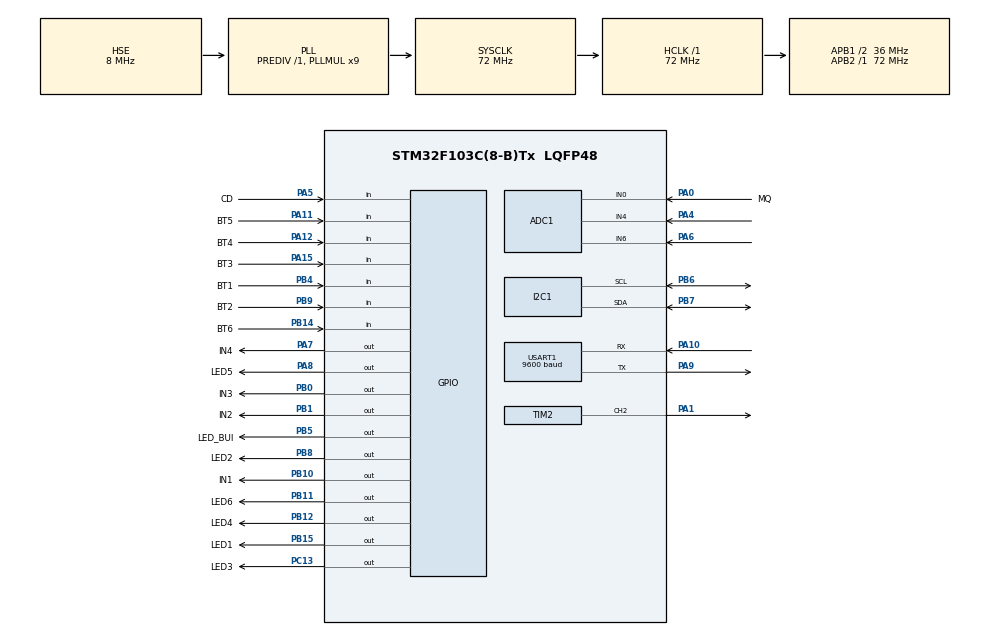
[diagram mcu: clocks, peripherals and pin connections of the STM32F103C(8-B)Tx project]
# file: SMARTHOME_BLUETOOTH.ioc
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Mcu.Family=STM32F1
USART1.BaudRate=9600
PB14.GPIO_Label=BT6
PB0.GPIO_Label=IN3
PA11.GPIO_PuPd=GPIO_PULLUP
TIM2.Channel-PWM\ Generation2\ CH2=TIM_CHANNEL_2
PB11.Signal=GPIO_Output
PB15.Signal=GPIO_Output
RCC.SYSCLKSource=RCC_SYSCLKSOURCE_PLLCLK
ProjectManager.StackSize=0x400
PD1-OSC_OUT.Signal=RCC_OSC_OUT
PA15.GPIO_Label=BT3
PA12.Signal=GPIO_Input
TIM1.Prescaler=72-1
ADC1.Channel-3\#ChannelRegularConversion=ADC_CHANNEL_4
RCC.HCLKFreq_Value=72000000
RCC.APB2TimFreq_Value=72000000
PB6.Signal=I2C1_SCL
Dma.ADC1.0.Direction=DMA_PERIPH_TO_MEMORY
ADC1.Channel-2\#ChannelRegularConversion=ADC_CHANNEL_0
PB6.Mode=I2C
Dma.ADC1.0.MemDataAlignment=DMA_MDATAALIGN_WORD
RCC.AHBFreq_Value=72000000
RCC.PLLMUL=RCC_PLL_MUL9
PB12.GPIO_Label=LED4
ADC1.Rank-2\#ChannelRegularConversion=2
PA14.Mode=Serial_Wire
PB1.GPIO_Label=IN2
Dma.ADC1.0.PeriphInc=DMA_PINC_DISABLE
PB7.Signal=I2C1_SDA
PA8.Signal=GPIO_Output
SH.ADCx_IN0.0=ADC1_IN0,IN0
VP_TIM1_VS_ClockSourceINT.Mode=Internal
Mcu.Package=LQFP48
PB9.Signal=GPIO_Input
TIM2.Prescaler=72-1
PB14.GPIO_PuPd=GPIO_PULLUP
PB1.Signal=GPIO_Output
PA6.Signal=ADCx_IN6
PB9.GPIO_PuPd=GPIO_PULLUP
PA10.Signal=USART1_RX
PA15.Signal=GPIO_Input
PB5.GPIO_Label=LED_BUI
RCC.APB1TimFreq_Value=72000000
TIM1.Period=0xffff-1
NVIC.USART1_IRQn=true\:0\:0\:false\:false\:true\:true\:true
PA12.GPIO_PuPd=GPIO_PULLUP
Dma.Request0=ADC1
PB4.Signal=GPIO_Input
RCC.PLLSourceVirtual=RCC_PLLSOURCE_HSE
Dma.ADC1.0.Instance=DMA1_Channel1
PD1-OSC_OUT.Mode=HSE-External-Oscillator
PB9.GPIO_Label=BT2
PA10.Mode=Asynchronous
SH.ADCx_IN6.0=ADC1_IN6,IN6
PB11.GPIO_Label=LED6
PC13-TAMPER-RTC.Signal=GPIO_Output
PA11.GPIO_Label=BT5
PD0-OSC_IN.Signal=RCC_OSC_IN
RCC.APB1CLKDivider=RCC_HCLK_DIV2
PA12.GPIO_Label=BT4
ADC1.SamplingTime-2\#ChannelRegularConversion=ADC_SAMPLETIME_71CYCLES_5
PA0-WKUP.GPIO_Label=MQ
PA0-WKUP.Signal=ADCx_IN0
RCC.ADCPresc=RCC_ADCPCLK2_DIV6
PA13.Signal=SYS_JTMS-SWDIO
PB8.GPIO_Label=LED2
SH.S_TIM2_CH2.0=TIM2_CH2,PWM Generation2 CH2
Dma.ADC1.0.PeriphDataAlignment=DMA_PDATAALIGN_WORD
PA9.Mode=Asynchronous
PA8.GPIO_Label=LED5
ProjectManager.TargetToolchain=STM32CubeIDE
PB10.GPIO_Label=IN1
Dma.ADC1.0.Mode=DMA_CIRCULAR
Dma.ADC1.0.Priority=DMA_PRIORITY_LOW
PA9.Signal=USART1_TX
ADC1.Channel-1\#ChannelRegularConversion=ADC_CHANNEL_6
PB4.GPIO_PuPd=GPIO_PULLUP
RCC.USBFreq_Value=72000000
PA1.Signal=S_TIM2_CH2
PD0-OSC_IN.Mode=HSE-External-Oscillator
PB10.Signal=GPIO_Output
PB14.Signal=GPIO_Input
PA5.Signal=GPIO_Input
board=custom
PC13-TAMPER-RTC.GPIO_Label=LED3
RCC.APB2Freq_Value=72000000
PB4.GPIO_Label=BT1
PB15.GPIO_Label=LED1
VP_TIM2_VS_ClockSourceINT.Mode=Internal
SH.ADCx_IN4.0=ADC1_IN4,IN4
TIM2.Period=20000-1
ADC1.NbrOfConversion=3
PA13.Mode=Serial_Wire
Mcu.Name=STM32F103C(8-B)Tx
PA4.Signal=ADCx_IN4
ADC1.SamplingTime-1\#ChannelRegularConversion=ADC_SAMPLETIME_55CYCLES_5
RCC.SYSCLKFreq_VALUE=72000000
PB5.Signal=GPIO_Output
PA7.GPIO_Label=IN4
ADC1.master=1
PA5.GPIO_Label=CD
ADC1.Rank-3\#ChannelRegularConversion=3
ADC1.SamplingTime-3\#ChannelRegularConversion=ADC_SAMPLETIME_239CYCLES_5
USART1.VirtualMode=VM_ASYNC
ADC1.Rank-1\#ChannelRegularConversion=1
PB7.Mode=I2C
PA11.Signal=GPIO_Input
PA14.Signal=SYS_JTCK-SWCLK
Dma.ADC1.0.MemInc=DMA_MINC_ENABLE
ProjectManager.HeapSize=0x200
VP_TIM4_VS_ClockSourceINT.Mode=Internal
NVIC.PriorityGroup=NVIC_PRIORITYGROUP_4
ADC1.NbrOfConversionFlag=1
PA15.GPIO_PuPd=GPIO_PULLUP
ADC1.EnableRegularConversion=ENABLE
PB8.Signal=GPIO_Output
NVIC.DMA1_Channel1_IRQn=true\:0\:0\:false\:false\:true\:false\:true
NVIC.TIM4_IRQn=true\:0\:0\:false\:false\:true\:true\:true
RCC.APB1Freq_Value=36000000
PB0.Signal=GPIO_Output
PB12.Signal=GPIO_Output
PA7.Signal=GPIO_Output

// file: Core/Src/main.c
/* USER CODE BEGIN Header */
/**
 ******************************************************************************
 * @file           : main.c
 * @brief          : Main program body
 ******************************************************************************
 * @attention
 *
 * <h2><center>&copy; Copyright (c) 2023 STMicroelectronics.
 * All rights reserved.</center></h2>
 *
 * This software component is licensed by ST under BSD 3-Clause license,
 * the "License"; You may not use this file except in compliance with the
 * License. You may obtain a copy of the License at:
 *                        opensource.org/licenses/BSD-3-Clause
 *
 ******************************************************************************
 */
/* USER CODE END Header */
#include "main.h"

/* USER CODE BEGIN Includes */
#include "stdio.h"
#include "string.h"
#include "i2c-lcd.h"
#include "button.h"
#include "STEPPER.h"
/* USER CODE END Includes */

ADC_HandleTypeDef hadc1;
DMA_HandleTypeDef hdma_adc1;

I2C_HandleTypeDef hi2c1;

TIM_HandleTypeDef htim1;
TIM_HandleTypeDef htim2;
TIM_HandleTypeDef htim4;

UART_HandleTypeDef huart1;

/* USER CODE BEGIN PV */
Button_t bt1;
Button_t bt2;
Button_t bt3;
Button_t bt4;
Button_t bt5;
Button_t bt6;
/* USER CODE END PV */

void SystemClock_Config(void);
static void MX_GPIO_Init(void);
static void MX_DMA_Init(void);
static void MX_USART1_UART_Init(void);
static void MX_ADC1_Init(void);
static void MX_TIM2_Init(void);
static void MX_TIM1_Init(void);
static void MX_I2C1_Init(void);
static void MX_TIM4_Init(void);

/* USER CODE BEGIN 0 */
#define STEPPER_MOTOR1 0
uint64_t t_prev = 0;
uint8_t bufferTx[32];
uint8_t DataRx;
#define DataSize 32
uint8_t buffer[DataSize];
uint8_t indexx = 0;
uint8_t flag = 0;
uint32_t value_Adc[3];
void HAL_TIM_PeriodElapsedCallback(TIM_HandleTypeDef *htim)
{
  STEPPER_TMR_OVF_ISR(htim);
}
long map(long x, long in_min, long in_max, long out_min, long out_max)
{
  return (x - in_min) * (out_max - out_min) / (in_max - in_min) + out_min;
}
void HAL_UARTEx_RxEventCallback(UART_HandleTypeDef *huart, uint16_t Size)
{
  flag = 1;
  HAL_UARTEx_ReceiveToIdle_IT(&huart1, buffer, DataSize);
}

void microDelay(uint16_t delay)
{
  __HAL_TIM_SET_COUNTER(&htim1, 0);
  while (__HAL_TIM_GET_COUNTER(&htim1) < delay)
    ;
}

uint16_t Filter(uint16_t m)
{
  static uint16_t flag_first = 0, _buff[10], sum;
  const uint16_t _buff_max = 10;
  int i;

  if (flag_first == 0)
  {
    flag_first = 1;
    for (i = 0, sum = 0; i < _buff_max; i++)
    {
      _buff[i] = m;
      sum += _buff[i];
    }
    return m;
  }
  else
  {
    sum -= _buff[0];
    for (i = 0; i < (_buff_max - 1); i++)
    {
      _buff[i] = _buff[i + 1];
    }
    _buff[9] = m;
    sum += _buff[9];

    i = sum / 10.0;
    return i;
  }
}

// ------------------ MQ135 ----------------------

uint32_t value_MQ, value_MQs;
float voltage;
#define SharpGP2Y10_SAMPLINGTIME 280
uint16_t value_Gp2y10(uint16_t value)
{
  uint16_t value_Dust;
  value = Filter(value);
  voltage = (3300 / 4096.0) * value * 11;
  value_Dust = 0.17 * voltage - 0.1;
  return value_Dust;
}

// ------------------ CO2 ----------------------
uint32_t dustDensity, dustDensitys;
#define co2Zero 55
uint16_t count = 0;
int co2raw = 0;  // int for raw value of co2
int co2comp = 0; // int for compensated co2
int co2ppm = 0;
uint32_t co2now;
uint16_t get_PPM(uint16_t value_mq)
{
  if (count == 10)
  {
    count = 0;
    co2raw = co2now / 10.0;
    co2comp = co2raw - co2Zero;
    co2ppm = map(co2comp, 0, 4096, 400, 5000);
    co2now = 0;
  }
  else
  {
    co2now += value_mq;
    count++;
  }
  return co2ppm;
}

uint8_t khach = 0;
uint8_t ngu = 0;
uint8_t tam = 0;
uint8_t hanhlang = 0;
uint8_t tt_rem;
uint8_t tt_manual;
void control()
{
  if (strcmp((char *)buffer, "MOKHACH\r\n") == 0)
  {
    khach = 1;
  }
  else if (strcmp((char *)buffer, "ROKHACH\r\n") == 0)
  {
    khach = 2;
  }
  else if (strcmp((char *)buffer, "OFFKHACH\r\n") == 0)
  {
    khach = 3;
  }
  else if (strcmp((char *)buffer, "MONGU\r\n") == 0)
  {
    ngu = 1;
  }
  else if (strcmp((char *)buffer, "RONGU\r\n") == 0)
  {
    ngu = 2;
  }
  else if (strcmp((char *)buffer, "OFFNGU\r\n") == 0)
  {
    ngu = 3;
  }
  else if (strcmp((char *)buffer, "ONLANG\r\n") == 0)
  {
    hanhlang = 1;
  }
  else if (strcmp((char *)buffer, "OFFLANG\r\n") == 0)
  {
    hanhlang = 0;
  }
  else if (strcmp((char *)buffer, "ONTAM\r\n") == 0)
  {
    tam = 1;
  }
  else if (strcmp((char *)buffer, "OFFTAM\r\n") == 0)
  {
    tam = 0;
  }
  else if (strcmp((char *)buffer, "ONREM\r\n") == 0)
  {
    tt_rem = 1;
  }
  else if (strcmp((char *)buffer, "OFFREM\r\n") == 0)
  {
    tt_rem = 0;
  }
  else if (strcmp((char *)buffer, "MANUAL\r\n") == 0)
  {
    tt_manual = 1;
  }
  else if (strcmp((char *)buffer, "AUTO\r\n") == 0)
  {
    tt_manual = 0;
  }
}
void sendData()
{
  sprintf((char *)bufferTx, "%ld;%ld;\n", dustDensity, value_MQ);
  HAL_UART_Transmit(&huart1, (uint8_t *)bufferTx, strlen((char *)bufferTx),
                    1000);
}
void OnOffLed(uint8_t k, uint8_t n, uint8_t l, uint8_t t)
{
  switch (k)
  {
  case 1:
    HAL_GPIO_WritePin(LED1_GPIO_Port, LED1_Pin, 1);
    HAL_GPIO_WritePin(LED2_GPIO_Port, LED2_Pin, 0);
    //		HAL_GPIO_WritePin(LED_GPIO_Port, LED_Pin, 0);
    break;
  case 2:
    HAL_GPIO_WritePin(LED1_GPIO_Port, LED1_Pin, 1);
    HAL_GPIO_WritePin(LED2_GPIO_Port, LED2_Pin, 1);
    break;
  case 3:
    HAL_GPIO_WritePin(LED1_GPIO_Port, LED1_Pin, 0);
    HAL_GPIO_WritePin(LED2_GPIO_Port, LED2_Pin, 0);
    //		HAL_GPIO_WritePin(LED_GPIO_Port, LED_Pin, 1);
    break;
  default:
    break;
  }
  switch (n)
  {
  case 1:
    HAL_GPIO_WritePin(LED3_GPIO_Port, LED3_Pin, 1);
    HAL_GPIO_WritePin(LED4_GPIO_Port, LED4_Pin, 0);
    break;
  case 2:
    HAL_GPIO_WritePin(LED3_GPIO_Port, LED3_Pin, 1);
    HAL_GPIO_WritePin(LED4_GPIO_Port, LED4_Pin, 1);
    break;
  case 3:
    HAL_GPIO_WritePin(LED3_GPIO_Port, LED3_Pin, 0);
    HAL_GPIO_WritePin(LED4_GPIO_Port, LED4_Pin, 0);
    break;
  default:
    break;
  }
  switch (t)
  {
  case 0:
    HAL_GPIO_WritePin(LED5_GPIO_Port, LED5_Pin, 0);
    break;
  case 1:
    HAL_GPIO_WritePin(LED5_GPIO_Port, LED5_Pin, 1);
    break;
  default:
    break;
  }
  switch (l)
  {
  case 0:
    HAL_GPIO_WritePin(LED6_GPIO_Port, LED6_Pin, 0);
    break;
  case 1:
    HAL_GPIO_WritePin(LED6_GPIO_Port, LED6_Pin, 1);
    break;
  default:
    break;
  }
}
uint8_t value1[50], value2[50];
void show_lcd()
{
  lcd_clear_display();
  HAL_Delay(10);
  sprintf((char *)value1, "BUI : %d ", dustDensity);
  sprintf((char *)value2, "CO2 : %d ", value_MQ);

  lcd_goto_XY(1, 0);
  lcd_send_string((char *)value1);
  lcd_goto_XY(2, 0);
  lcd_send_string((char *)value2);
}
uint8_t but1, but2, but3, but4, but5;
uint8_t tt_manual;
void bt_press_callback(Button_t *button)
{
  if (button == &bt1)
  {
    if (but1 == 4)
    {
      but1 = 1;
    }
    switch (but1)
    {
    case 1:
      khach = 1;
      break;
    case 2:
      khach = 2;
      break;
    case 3:
      khach = 3;
      break;
    default:
      break;
    }
    but1++;
  }
  else if (button == &bt2)
  {
    if (but2 == 4)
    {
      but2 = 1;
    }
    switch (but2)
    {
    case 1:
      ngu = 1;
      break;
    case 2:
      ngu = 2;
      break;
    case 3:
      ngu = 3;
      break;
    default:
      break;
    }
    but2++;
  }
  if (tt_manual == 1)
  {
    if (button == &bt3)
    {
      if (tam == 1)
      {
        tam = 0;
      }
      else
      {
        tam = 1;
      }
    }
    else if (button == &bt4)
    {
      if (hanhlang == 1)
      {
        hanhlang = 0;
      }
      else
      {
        hanhlang = 1;
      }
    }
    else if (button == &bt5)
    { // REM
      if (tt_rem == 1)
      {
        STEPPER_Step_NonBlocking(STEPPER_MOTOR1, 4000, DIR_CW);
        tt_rem = 0;
      }
      else
      {
        STEPPER_Step_NonBlocking(STEPPER_MOTOR1, 4000, DIR_CCW);
        tt_rem = 1;
      }
    }
  }
  else if (button == &bt6)
  {
    if (tt_manual == 1)
    {
      tt_manual = 0;
    }
    else
    {
      tt_manual = 1;
    }
  }
}
uint8_t tt_rem1, cb_vatcan, tt_tam;
uint8_t s1, s2, s3, s4, s5, s6;
/* USER CODE END 0 */

int main(void)
{

  /* MCU Configuration--------------------------------------------------------*/

  /* Reset of all peripherals, Initializes the Flash interface and the Systick. */
  HAL_Init();

  /* Configure the system clock */
  SystemClock_Config();

  /* Initialize all configured peripherals */
  MX_GPIO_Init();
  MX_DMA_Init();
  MX_USART1_UART_Init();
  MX_ADC1_Init();
  MX_TIM2_Init();
  MX_TIM1_Init();
  MX_I2C1_Init();
  MX_TIM4_Init();
  /* USER CODE BEGIN 2 */
  Button_Init(&bt1, BT1_GPIO_Port, BT1_Pin);
  Button_Init(&bt2, BT2_GPIO_Port, BT2_Pin);
  Button_Init(&bt3, BT3_GPIO_Port, BT3_Pin);
  Button_Init(&bt4, BT4_GPIO_Port, BT4_Pin);
  Button_Init(&bt5, BT5_GPIO_Port, BT5_Pin);
  Button_Init(&bt6, BT6_GPIO_Port, BT6_Pin);
  STEPPERS_Init_TMR(&htim4);
  STEPPER_SetSpeed(STEPPER_MOTOR1, 20);

  HAL_UARTEx_ReceiveToIdle_IT(&huart1, buffer, DataSize);
  HAL_ADCEx_Calibration_Start(&hadc1);

  HAL_TIM_Base_Start(&htim1);
  lcd_init();
  t_prev = HAL_GetTick();

  /* USER CODE END 2 */

  /* Infinite loop */
  /* USER CODE BEGIN WHILE */
  while (1)
  {
    bt_handle(&bt1);
    bt_handle(&bt2);
    bt_handle(&bt3);
    bt_handle(&bt4);
    bt_handle(&bt5);
    bt_handle(&bt6);
    s1 = HAL_GPIO_ReadPin(BT1_GPIO_Port, BT1_Pin);
    s2 = HAL_GPIO_ReadPin(BT2_GPIO_Port, BT2_Pin);
    s3 = HAL_GPIO_ReadPin(BT3_GPIO_Port, BT3_Pin);
    s4 = HAL_GPIO_ReadPin(BT4_GPIO_Port, BT4_Pin);
    s5 = HAL_GPIO_ReadPin(BT5_GPIO_Port, BT5_Pin);
    s6 = HAL_GPIO_ReadPin(BT6_GPIO_Port, BT6_Pin);
    if (flag == 1)
    { // check Rx
      control();
      if (tt_manual == 1)
      {
        if (tt_rem == 1)
        {
          STEPPER_Step_NonBlocking(STEPPER_MOTOR1, 4000, DIR_CW);
          tt_rem = 0;
        }
        else
        {
          STEPPER_Step_NonBlocking(STEPPER_MOTOR1, 4000, DIR_CCW);
          tt_rem = 1;
        }
      }
      memset(buffer, 0, strlen((char *)buffer));
      flag = 0;
    }
    OnOffLed(khach, ngu, hanhlang, tam);
    if (HAL_GetTick() - t_prev >= 300)
    {

      HAL_GPIO_WritePin(LED_BUI_GPIO_Port, LED_BUI_Pin, GPIO_PIN_SET);
      microDelay(SharpGP2Y10_SAMPLINGTIME);
      HAL_ADC_Start_DMA(&hadc1, value_Adc, 3);
      HAL_GPIO_WritePin(LED_BUI_GPIO_Port, LED_BUI_Pin, GPIO_PIN_RESET);

      dustDensity = value_Gp2y10(value_Adc[0]);
      value_MQ = get_PPM(value_Adc[1]);

      sendData(); // send data to Hc-05
      t_prev = HAL_GetTick();
    }
    if (value_MQ != value_MQs)
    {
      value_MQs = value_MQ;
      dustDensitys = dustDensity;
      show_lcd();
    }
    if (tt_manual == 0)
    {
      cb_vatcan = HAL_GPIO_ReadPin(CD_GPIO_Port, CD_Pin);
      if (cb_vatcan == 0)
      {
        tam = 1;
      }
      else if (cb_vatcan == 1)
      {
        tam = 0;
      }
      if (value_Adc[2] > 1500)
      { // thay doi gia tri anh sang
        hanhlang = 1;
        if (tt_rem1 == 0)
        {
          tt_rem1 = 1;
          STEPPER_Step_NonBlocking(STEPPER_MOTOR1, 4000, DIR_CW);
        }
      }
      else
      {
        hanhlang = 0;
        if (tt_rem1 == 1)
        {
          tt_rem1 = 0;
          STEPPER_Step_NonBlocking(STEPPER_MOTOR1, 4000, DIR_CCW);
        }
      }
    }

    /* USER CODE END WHILE */

  }
}

void SystemClock_Config(void)
{
  RCC_OscInitTypeDef RCC_OscInitStruct = {0};
  RCC_ClkInitTypeDef RCC_ClkInitStruct = {0};
  RCC_PeriphCLKInitTypeDef PeriphClkInit = {0};

  /** Initializes the RCC Oscillators according to the specified parameters
   * in the RCC_OscInitTypeDef structure.
   */
  RCC_OscInitStruct.OscillatorType = RCC_OSCILLATORTYPE_HSE;
  RCC_OscInitStruct.HSEState = RCC_HSE_ON;
  RCC_OscInitStruct.HSEPredivValue = RCC_HSE_PREDIV_DIV1;
  RCC_OscInitStruct.HSIState = RCC_HSI_ON;
  RCC_OscInitStruct.PLL.PLLState = RCC_PLL_ON;
  RCC_OscInitStruct.PLL.PLLSource = RCC_PLLSOURCE_HSE;
  RCC_OscInitStruct.PLL.PLLMUL = RCC_PLL_MUL9;
  if (HAL_RCC_OscConfig(&RCC_OscInitStruct) != HAL_OK)
  {
    Error_Handler();
  }
  /** Initializes the CPU, AHB and APB buses clocks
   */
  RCC_ClkInitStruct.ClockType = RCC_CLOCKTYPE_HCLK | RCC_CLOCKTYPE_SYSCLK | RCC_CLOCKTYPE_PCLK1 | RCC_CLOCKTYPE_PCLK2;
  RCC_ClkInitStruct.SYSCLKSource = RCC_SYSCLKSOURCE_PLLCLK;
  RCC_ClkInitStruct.AHBCLKDivider = RCC_SYSCLK_DIV1;
  RCC_ClkInitStruct.APB1CLKDivider = RCC_HCLK_DIV2;
  RCC_ClkInitStruct.APB2CLKDivider = RCC_HCLK_DIV1;

  if (HAL_RCC_ClockConfig(&RCC_ClkInitStruct, FLASH_LATENCY_2) != HAL_OK)
  {
    Error_Handler();
  }
  PeriphClkInit.PeriphClockSelection = RCC_PERIPHCLK_ADC;
  PeriphClkInit.AdcClockSelection = RCC_ADCPCLK2_DIV6;
  if (HAL_RCCEx_PeriphCLKConfig(&PeriphClkInit) != HAL_OK)
  {
    Error_Handler();
  }
}

static void MX_ADC1_Init(void)
{

  ADC_ChannelConfTypeDef sConfig = {0};

  /** Common config
   */
  hadc1.Instance = ADC1;
  hadc1.Init.ScanConvMode = ADC_SCAN_ENABLE;
  hadc1.Init.ContinuousConvMode = DISABLE;
  hadc1.Init.DiscontinuousConvMode = DISABLE;
  hadc1.Init.ExternalTrigConv = ADC_SOFTWARE_START;
  hadc1.Init.DataAlign = ADC_DATAALIGN_RIGHT;
  hadc1.Init.NbrOfConversion = 3;
  if (HAL_ADC_Init(&hadc1) != HAL_OK)
  {
    Error_Handler();
  }
  /** Configure Regular Channel
   */
  sConfig.Channel = ADC_CHANNEL_6;
  sConfig.Rank = ADC_REGULAR_RANK_1;
  sConfig.SamplingTime = ADC_SAMPLETIME_55CYCLES_5;
  if (HAL_ADC_ConfigChannel(&hadc1, &sConfig) != HAL_OK)
  {
    Error_Handler();
  }
  /** Configure Regular Channel
   */
  sConfig.Channel = ADC_CHANNEL_0;
  sConfig.Rank = ADC_REGULAR_RANK_2;
  sConfig.SamplingTime = ADC_SAMPLETIME_71CYCLES_5;
  if (HAL_ADC_ConfigChannel(&hadc1, &sConfig) != HAL_OK)
  {
    Error_Handler();
  }
  /** Configure Regular Channel
   */
  sConfig.Channel = ADC_CHANNEL_4;
  sConfig.Rank = ADC_REGULAR_RANK_3;
  sConfig.SamplingTime = ADC_SAMPLETIME_239CYCLES_5;
  if (HAL_ADC_ConfigChannel(&hadc1, &sConfig) != HAL_OK)
  {
    Error_Handler();
  }
}

static void MX_I2C1_Init(void)
{

  hi2c1.Instance = I2C1;
  hi2c1.Init.ClockSpeed = 100000;
  hi2c1.Init.DutyCycle = I2C_DUTYCYCLE_2;
  hi2c1.Init.OwnAddress1 = 0;
  hi2c1.Init.AddressingMode = I2C_ADDRESSINGMODE_7BIT;
  hi2c1.Init.DualAddressMode = I2C_DUALADDRESS_DISABLE;
  hi2c1.Init.OwnAddress2 = 0;
  hi2c1.Init.GeneralCallMode = I2C_GENERALCALL_DISABLE;
  hi2c1.Init.NoStretchMode = I2C_NOSTRETCH_DISABLE;
  if (HAL_I2C_Init(&hi2c1) != HAL_OK)
  {
    Error_Handler();
  }
}

static void MX_TIM1_Init(void)
{

  TIM_ClockConfigTypeDef sClockSourceConfig = {0};
  TIM_MasterConfigTypeDef sMasterConfig = {0};

  htim1.Instance = TIM1;
  htim1.Init.Prescaler = 72 - 1;
  htim1.Init.CounterMode = TIM_COUNTERMODE_UP;
  htim1.Init.Period = 0xffff - 1;
  htim1.Init.ClockDivision = TIM_CLOCKDIVISION_DIV1;
  htim1.Init.RepetitionCounter = 0;
  htim1.Init.AutoReloadPreload = TIM_AUTORELOAD_PRELOAD_DISABLE;
  if (HAL_TIM_Base_Init(&htim1) != HAL_OK)
  {
    Error_Handler();
  }
  sClockSourceConfig.ClockSource = TIM_CLOCKSOURCE_INTERNAL;
  if (HAL_TIM_ConfigClockSource(&htim1, &sClockSourceConfig) != HAL_OK)
  {
    Error_Handler();
  }
  sMasterConfig.MasterOutputTrigger = TIM_TRGO_RESET;
  sMasterConfig.MasterSlaveMode = TIM_MASTERSLAVEMODE_DISABLE;
  if (HAL_TIMEx_MasterConfigSynchronization(&htim1, &sMasterConfig) != HAL_OK)
  {
    Error_Handler();
  }
}

static void MX_TIM2_Init(void)
{

  TIM_ClockConfigTypeDef sClockSourceConfig = {0};
  TIM_MasterConfigTypeDef sMasterConfig = {0};
  TIM_OC_InitTypeDef sConfigOC = {0};

  htim2.Instance = TIM2;
  htim2.Init.Prescaler = 72 - 1;
  htim2.Init.CounterMode = TIM_COUNTERMODE_UP;
  htim2.Init.Period = 20000 - 1;
  htim2.Init.ClockDivision = TIM_CLOCKDIVISION_DIV1;
  htim2.Init.AutoReloadPreload = TIM_AUTORELOAD_PRELOAD_DISABLE;
  if (HAL_TIM_Base_Init(&htim2) != HAL_OK)
  {
    Error_Handler();
  }
  sClockSourceConfig.ClockSource = TIM_CLOCKSOURCE_INTERNAL;
  if (HAL_TIM_ConfigClockSource(&htim2, &sClockSourceConfig) != HAL_OK)
  {
    Error_Handler();
  }
  if (HAL_TIM_PWM_Init(&htim2) != HAL_OK)
  {
    Error_Handler();
  }
  sMasterConfig.MasterOutputTrigger = TIM_TRGO_RESET;
  sMasterConfig.MasterSlaveMode = TIM_MASTERSLAVEMODE_DISABLE;
  if (HAL_TIMEx_MasterConfigSynchronization(&htim2, &sMasterConfig) != HAL_OK)
  {
    Error_Handler();
  }
  sConfigOC.OCMode = TIM_OCMODE_PWM1;
  sConfigOC.Pulse = 0;
  sConfigOC.OCPolarity = TIM_OCPOLARITY_HIGH;
  sConfigOC.OCFastMode = TIM_OCFAST_DISABLE;
  if (HAL_TIM_PWM_ConfigChannel(&htim2, &sConfigOC, TIM_CHANNEL_2) != HAL_OK)
  {
    Error_Handler();
  }
  HAL_TIM_MspPostInit(&htim2);
}

static void MX_TIM4_Init(void)
{

  TIM_ClockConfigTypeDef sClockSourceConfig = {0};
  TIM_MasterConfigTypeDef sMasterConfig = {0};

  htim4.Instance = TIM4;
  htim4.Init.Prescaler = 0;
  htim4.Init.CounterMode = TIM_COUNTERMODE_UP;
  htim4.Init.Period = 65535;
  htim4.Init.ClockDivision = TIM_CLOCKDIVISION_DIV1;
  htim4.Init.AutoReloadPreload = TIM_AUTORELOAD_PRELOAD_DISABLE;
  if (HAL_TIM_Base_Init(&htim4) != HAL_OK)
  {
    Error_Handler();
  }
  sClockSourceConfig.ClockSource = TIM_CLOCKSOURCE_INTERNAL;
  if (HAL_TIM_ConfigClockSource(&htim4, &sClockSourceConfig) != HAL_OK)
  {
    Error_Handler();
  }
  sMasterConfig.MasterOutputTrigger = TIM_TRGO_RESET;
  sMasterConfig.MasterSlaveMode = TIM_MASTERSLAVEMODE_DISABLE;
  if (HAL_TIMEx_MasterConfigSynchronization(&htim4, &sMasterConfig) != HAL_OK)
  {
    Error_Handler();
  }
}

static void MX_USART1_UART_Init(void)
{

  huart1.Instance = USART1;
  huart1.Init.BaudRate = 9600;
  huart1.Init.WordLength = UART_WORDLENGTH_8B;
  huart1.Init.StopBits = UART_STOPBITS_1;
  huart1.Init.Parity = UART_PARITY_NONE;
  huart1.Init.Mode = UART_MODE_TX_RX;
  huart1.Init.HwFlowCtl = UART_HWCONTROL_NONE;
  huart1.Init.OverSampling = UART_OVERSAMPLING_16;
  if (HAL_UART_Init(&huart1) != HAL_OK)
  {
    Error_Handler();
  }
}

static void MX_DMA_Init(void)
{

  /* DMA controller clock enable */
  __HAL_RCC_DMA1_CLK_ENABLE();

  /* DMA interrupt init */
  /* DMA1_Channel1_IRQn interrupt configuration */
  HAL_NVIC_SetPriority(DMA1_Channel1_IRQn, 0, 0);
  HAL_NVIC_EnableIRQ(DMA1_Channel1_IRQn);
}

static void MX_GPIO_Init(void)
{
  GPIO_InitTypeDef GPIO_InitStruct = {0};

  /* GPIO Ports Clock Enable */
  __HAL_RCC_GPIOC_CLK_ENABLE();
  __HAL_RCC_GPIOD_CLK_ENABLE();
  __HAL_RCC_GPIOA_CLK_ENABLE();
  __HAL_RCC_GPIOB_CLK_ENABLE();

  /*Configure GPIO pin Output Level */
  HAL_GPIO_WritePin(LED3_GPIO_Port, LED3_Pin, GPIO_PIN_RESET);

  /*Configure GPIO pin Output Level */
  HAL_GPIO_WritePin(GPIOA, IN4_Pin | LED5_Pin, GPIO_PIN_RESET);

  /*Configure GPIO pin Output Level */
  HAL_GPIO_WritePin(GPIOB, IN3_Pin | IN2_Pin | IN1_Pin | LED6_Pin | LED4_Pin | LED1_Pin | LED_BUI_Pin | LED2_Pin, GPIO_PIN_RESET);

  /*Configure GPIO pin : LED3_Pin */
  GPIO_InitStruct.Pin = LED3_Pin;
  GPIO_InitStruct.Mode = GPIO_MODE_OUTPUT_PP;
  GPIO_InitStruct.Pull = GPIO_NOPULL;
  GPIO_InitStruct.Speed = GPIO_SPEED_FREQ_LOW;
  HAL_GPIO_Init(LED3_GPIO_Port, &GPIO_InitStruct);

  /*Configure GPIO pin : CD_Pin */
  GPIO_InitStruct.Pin = CD_Pin;
  GPIO_InitStruct.Mode = GPIO_MODE_INPUT;
  GPIO_InitStruct.Pull = GPIO_NOPULL;
  HAL_GPIO_Init(CD_GPIO_Port, &GPIO_InitStruct);

  /*Configure GPIO pins : IN4_Pin LED5_Pin */
  GPIO_InitStruct.Pin = IN4_Pin | LED5_Pin;
  GPIO_InitStruct.Mode = GPIO_MODE_OUTPUT_PP;
  GPIO_InitStruct.Pull = GPIO_NOPULL;
  GPIO_InitStruct.Speed = GPIO_SPEED_FREQ_LOW;
  HAL_GPIO_Init(GPIOA, &GPIO_InitStruct);

  /*Configure GPIO pins : IN3_Pin IN2_Pin IN1_Pin LED6_Pin
                           LED4_Pin LED1_Pin LED_BUI_Pin LED2_Pin */
  GPIO_InitStruct.Pin = IN3_Pin | IN2_Pin | IN1_Pin | LED6_Pin | LED4_Pin | LED1_Pin | LED_BUI_Pin | LED2_Pin;
  GPIO_InitStruct.Mode = GPIO_MODE_OUTPUT_PP;
  GPIO_InitStruct.Pull = GPIO_NOPULL;
  GPIO_InitStruct.Speed = GPIO_SPEED_FREQ_LOW;
  HAL_GPIO_Init(GPIOB, &GPIO_InitStruct);

  /*Configure GPIO pins : BT6_Pin BT1_Pin BT2_Pin */
  GPIO_InitStruct.Pin = BT6_Pin | BT1_Pin | BT2_Pin;
  GPIO_InitStruct.Mode = GPIO_MODE_INPUT;
  GPIO_InitStruct.Pull = GPIO_PULLUP;
  HAL_GPIO_Init(GPIOB, &GPIO_InitStruct);

  /*Configure GPIO pins : BT5_Pin BT4_Pin BT3_Pin */
  GPIO_InitStruct.Pin = BT5_Pin | BT4_Pin | BT3_Pin;
  GPIO_InitStruct.Mode = GPIO_MODE_INPUT;
  GPIO_InitStruct.Pull = GPIO_PULLUP;
  HAL_GPIO_Init(GPIOA, &GPIO_InitStruct);
}

void Error_Handler(void)
{
  __disable_irq();
  while (1)
  {
  }
}

/************************ (C) COPYRIGHT STMicroelectronics *****END OF FILE****/
